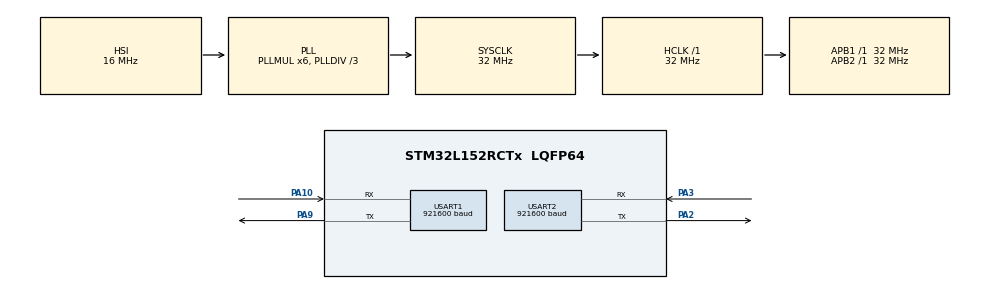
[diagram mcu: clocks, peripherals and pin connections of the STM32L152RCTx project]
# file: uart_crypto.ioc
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Dma.Request0=USART2_TX
Dma.Request1=USART1_TX
Dma.USART1_TX.1.Direction=DMA_MEMORY_TO_PERIPH
Dma.USART1_TX.1.Instance=DMA1_Channel4
Dma.USART1_TX.1.MemDataAlignment=DMA_MDATAALIGN_BYTE
Dma.USART1_TX.1.MemInc=DMA_MINC_ENABLE
Dma.USART1_TX.1.Mode=DMA_NORMAL
Dma.USART1_TX.1.PeriphDataAlignment=DMA_PDATAALIGN_BYTE
Dma.USART1_TX.1.PeriphInc=DMA_PINC_DISABLE
Dma.USART1_TX.1.Priority=DMA_PRIORITY_LOW
Dma.USART2_TX.0.Direction=DMA_MEMORY_TO_PERIPH
Dma.USART2_TX.0.Instance=DMA1_Channel7
Dma.USART2_TX.0.MemDataAlignment=DMA_MDATAALIGN_BYTE
Dma.USART2_TX.0.MemInc=DMA_MINC_ENABLE
Dma.USART2_TX.0.Mode=DMA_NORMAL
Dma.USART2_TX.0.PeriphDataAlignment=DMA_PDATAALIGN_BYTE
Dma.USART2_TX.0.PeriphInc=DMA_PINC_DISABLE
Dma.USART2_TX.0.Priority=DMA_PRIORITY_LOW
FREERTOS.Events01=encrypted_ready,Static,encrypted_readyControlBlock;decrypted_ready,Static,decrypted_readyControlBlock
FREERTOS.Mutexes01=myMutex01,Static,myMutex01ControlBlock
FREERTOS.Queues01=encrypted_data,120,uint8_t,0,Static,encrypted_dataBuffer,encrypted_dataControlBlock;decrypted_data,120,uint8_t,0,Static,decrypted_dataBuffer,decrypted_dataControlBlock
FREERTOS.Tasks01=defaultTask,9,128,StartDefaultTask,Default,NULL,Dynamic,NULL,NULL;rt_uart1,24,128,encrypter_task,Default,NULL,Dynamic,NULL,NULL;rt_uart2,24,128,decrypter_task,Default,NULL,Dynamic,NULL,NULL
FREERTOS.configLIBRARY_MAX_SYSCALL_INTERRUPT_PRIORITY=6
IWDG.Prescaler=IWDG_PRESCALER_256
Mcu.Family=STM32L1
Mcu.Name=STM32L152RCTx
Mcu.Package=LQFP64
Mcu.UserConstants=CPU_FREQ_HZ,32000000
NVIC.DMA1_Channel4_IRQn=true\:6\:0\:true\:true\:true\:3\:true\:false\:true
NVIC.DMA1_Channel7_IRQn=true\:6\:0\:true\:true\:true\:2\:true\:false\:true
NVIC.PriorityGroup=NVIC_PRIORITYGROUP_4
NVIC.TIM3_IRQn=true\:0\:0\:false\:false\:true\:false\:false\:true
NVIC.TimeBase=TIM3_IRQn
NVIC.TimeBaseIP=TIM3
NVIC.USART1_IRQn=true\:6\:0\:true\:false\:true\:true\:true\:true
NVIC.USART2_IRQn=true\:6\:0\:false\:true\:true\:1\:true\:true\:true
PA10.Mode=Asynchronous
PA10.Signal=USART1_RX
PA13.Mode=Serial_Wire
PA13.Signal=SYS_JTMS-SWDIO
PA14.Mode=Serial_Wire
PA14.Signal=SYS_JTCK-SWCLK
PA2.Mode=Asynchronous
PA2.Signal=USART2_TX
PA3.Mode=Asynchronous
PA3.Signal=USART2_RX
PA9.Mode=Asynchronous
PA9.Signal=USART1_TX
ProjectManager.HeapSize=0x200
ProjectManager.StackSize=0x400
ProjectManager.TargetToolchain=STM32CubeIDE
RCC.48MHZClocksFreq_Value=48000000
RCC.AHBFreq_Value=32000000
RCC.APB1Freq_Value=32000000
RCC.APB1TimFreq_Value=32000000
RCC.APB2Freq_Value=32000000
RCC.APB2TimFreq_Value=32000000
RCC.HCLKFreq_Value=32000000
RCC.HSE_VALUE=24000000
RCC.HSI_VALUE=16000000
RCC.LSE_VALUE=32768
RCC.MSI_VALUE=2097000
RCC.PLLDIV=RCC_PLL_DIV3
RCC.PLLMUL=RCC_PLL_MUL6
RCC.SYSCLKFreq_VALUE=32000000
RCC.SYSCLKSource=RCC_SYSCLKSOURCE_PLLCLK
RCC.VCOOutputFreq_Value=96000000
TIM2.Prescaler=CPU_FREQ_HZ/1000-1
TIM5.Prescaler=CPU_FREQ_HZ/1000000-1
USART1.BaudRate=921600
USART1.VirtualMode=VM_ASYNC
USART2.BaudRate=921600
USART2.OverSampling=UART_OVERSAMPLING_8
USART2.VirtualMode=VM_ASYNC
VP_FREERTOS_VS_CMSIS_V2.Mode=CMSIS_V2
VP_IWDG_VS_IWDG.Mode=IWDG_Activate
VP_SYS_VS_tim3.Mode=TIM3
VP_TIM2_VS_ClockSourceINT.Mode=Internal
VP_TIM5_VS_ClockSourceINT.Mode=Internal
board=custom

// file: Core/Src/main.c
/* USER CODE BEGIN Header */
/**
  ******************************************************************************
  * @file           : main.c
  * @brief          : Main program body
  ******************************************************************************
  * @attention
  *
  * <h2><center>&copy; Copyright (c) 2023 STMicroelectronics.
  * All rights reserved.</center></h2>
  *
  * This software component is licensed by ST under Ultimate Liberty license
  * SLA0044, the "License"; You may not use this file except in compliance with
  * the License. You may obtain a copy of the License at:
  *                             www.st.com/SLA0044
  *
  ******************************************************************************
  */
/* USER CODE END Header */
#include "main.h"
#include "cmsis_os.h"

/* USER CODE BEGIN Includes */
#include "uart.h"
#include "task.h"
/* USER CODE END Includes */

typedef StaticQueue_t osStaticMessageQDef_t;
typedef StaticSemaphore_t osStaticMutexDef_t;
typedef StaticEventGroup_t osStaticEventGroupDef_t;

IWDG_HandleTypeDef hiwdg;

TIM_HandleTypeDef htim2;
TIM_HandleTypeDef htim5;

UART_HandleTypeDef huart1;
UART_HandleTypeDef huart2;
DMA_HandleTypeDef hdma_usart1_tx;
DMA_HandleTypeDef hdma_usart2_tx;

/* Definitions for defaultTask */
osThreadId_t defaultTaskHandle;
const osThreadAttr_t defaultTask_attributes = {
  .name = "defaultTask",
  .priority = (osPriority_t) osPriorityLow1,
  .stack_size = 128 * 4
};
/* Definitions for rt_uart1 */
osThreadId_t rt_uart1Handle;
const osThreadAttr_t rt_uart1_attributes = {
  .name = "rt_uart1",
  .priority = (osPriority_t) osPriorityNormal,
  .stack_size = 128 * 4
};
/* Definitions for rt_uart2 */
osThreadId_t rt_uart2Handle;
const osThreadAttr_t rt_uart2_attributes = {
  .name = "rt_uart2",
  .priority = (osPriority_t) osPriorityNormal,
  .stack_size = 128 * 4
};
/* Definitions for encrypted_data */
osMessageQueueId_t encrypted_dataHandle;
uint8_t encrypted_dataBuffer[ 120 * sizeof( uint8_t ) ];
osStaticMessageQDef_t encrypted_dataControlBlock;
const osMessageQueueAttr_t encrypted_data_attributes = {
  .name = "encrypted_data",
  .cb_mem = &encrypted_dataControlBlock,
  .cb_size = sizeof(encrypted_dataControlBlock),
  .mq_mem = &encrypted_dataBuffer,
  .mq_size = sizeof(encrypted_dataBuffer)
};
/* Definitions for decrypted_data */
osMessageQueueId_t decrypted_dataHandle;
uint8_t decrypted_dataBuffer[ 120 * sizeof( uint8_t ) ];
osStaticMessageQDef_t decrypted_dataControlBlock;
const osMessageQueueAttr_t decrypted_data_attributes = {
  .name = "decrypted_data",
  .cb_mem = &decrypted_dataControlBlock,
  .cb_size = sizeof(decrypted_dataControlBlock),
  .mq_mem = &decrypted_dataBuffer,
  .mq_size = sizeof(decrypted_dataBuffer)
};
/* Definitions for myMutex01 */
osMutexId_t myMutex01Handle;
osStaticMutexDef_t myMutex01ControlBlock;
const osMutexAttr_t myMutex01_attributes = {
  .name = "myMutex01",
  .cb_mem = &myMutex01ControlBlock,
  .cb_size = sizeof(myMutex01ControlBlock),
};
/* Definitions for encrypted_ready */
osEventFlagsId_t encrypted_readyHandle;
osStaticEventGroupDef_t encrypted_readyControlBlock;
const osEventFlagsAttr_t encrypted_ready_attributes = {
  .name = "encrypted_ready",
  .cb_mem = &encrypted_readyControlBlock,
  .cb_size = sizeof(encrypted_readyControlBlock),
};
/* Definitions for decrypted_ready */
osEventFlagsId_t decrypted_readyHandle;
osStaticEventGroupDef_t decrypted_readyControlBlock;
const osEventFlagsAttr_t decrypted_ready_attributes = {
  .name = "decrypted_ready",
  .cb_mem = &decrypted_readyControlBlock,
  .cb_size = sizeof(decrypted_readyControlBlock),
};
/* USER CODE BEGIN PV */
//    EventGroupHandle_t xEventGroupHandle;
//    StaticEventGroup_t xCreatedEventGroup;

/* USER CODE END PV */

void SystemClock_Config(void);
static void MX_GPIO_Init(void);
static void MX_DMA_Init(void);
static void MX_USART1_UART_Init(void);
static void MX_USART2_UART_Init(void);
static void MX_IWDG_Init(void);
static void MX_TIM2_Init(void);
static void MX_TIM5_Init(void);
void StartDefaultTask(void *argument);
void encrypter_task(void *argument);
void decrypter_task(void *argument);

static void MX_NVIC_Init(void);

int main(void)
{

  /* MCU Configuration--------------------------------------------------------*/

  /* Reset of all peripherals, Initializes the Flash interface and the Systick. */
  HAL_Init();

  /* Configure the system clock */
  SystemClock_Config();

  /* Initialize all configured peripherals */
  MX_GPIO_Init();
  MX_DMA_Init();
  MX_USART1_UART_Init();
  MX_USART2_UART_Init();
  MX_IWDG_Init();
  MX_TIM2_Init();
  MX_TIM5_Init();

  /* Initialize interrupts */
  MX_NVIC_Init();

  /* Init scheduler */
  osKernelInitialize();
  /* Create the mutex(es) */
  /* creation of myMutex01 */
  myMutex01Handle = osMutexNew(&myMutex01_attributes);

  /* Create the queue(s) */
  /* creation of encrypted_data */
  encrypted_dataHandle = osMessageQueueNew (120, sizeof(uint8_t), &encrypted_data_attributes);

  /* creation of decrypted_data */
  decrypted_dataHandle = osMessageQueueNew (120, sizeof(uint8_t), &decrypted_data_attributes);

  /* Create the thread(s) */
  /* creation of defaultTask */
  defaultTaskHandle = osThreadNew(StartDefaultTask, NULL, &defaultTask_attributes);

  /* creation of rt_uart1 */
  rt_uart1Handle = osThreadNew(encrypter_task, NULL, &rt_uart1_attributes);

  /* creation of rt_uart2 */
  rt_uart2Handle = osThreadNew(decrypter_task, NULL, &rt_uart2_attributes);

  /* creation of encrypted_ready */
  encrypted_readyHandle = osEventFlagsNew(&encrypted_ready_attributes);
  osEventFlagsSet(encrypted_readyHandle, 2);

  /* creation of decrypted_ready */
  decrypted_readyHandle = osEventFlagsNew(&decrypted_ready_attributes);
  osEventFlagsSet(decrypted_readyHandle, 2);

  /* Start scheduler */
  osKernelStart();

  /* We should never get here as control is now taken by the scheduler */
  /* Infinite loop */
  while (1)
  {

  }
}

void SystemClock_Config(void)
{
  RCC_OscInitTypeDef RCC_OscInitStruct = {0};
  RCC_ClkInitTypeDef RCC_ClkInitStruct = {0};

  /** Configure the main internal regulator output voltage
  */
  __HAL_PWR_VOLTAGESCALING_CONFIG(PWR_REGULATOR_VOLTAGE_SCALE1);
  /** Initializes the RCC Oscillators according to the specified parameters
  * in the RCC_OscInitTypeDef structure.
  */
  RCC_OscInitStruct.OscillatorType = RCC_OSCILLATORTYPE_HSI|RCC_OSCILLATORTYPE_LSI;
  RCC_OscInitStruct.HSIState = RCC_HSI_ON;
  RCC_OscInitStruct.HSICalibrationValue = RCC_HSICALIBRATION_DEFAULT;
  RCC_OscInitStruct.LSIState = RCC_LSI_ON;
  RCC_OscInitStruct.PLL.PLLState = RCC_PLL_ON;
  RCC_OscInitStruct.PLL.PLLSource = RCC_PLLSOURCE_HSI;
  RCC_OscInitStruct.PLL.PLLMUL = RCC_PLL_MUL6;
  RCC_OscInitStruct.PLL.PLLDIV = RCC_PLL_DIV3;
  if (HAL_RCC_OscConfig(&RCC_OscInitStruct) != HAL_OK)
  {
    Error_Handler();
  }
  /** Initializes the CPU, AHB and APB buses clocks
  */
  RCC_ClkInitStruct.ClockType = RCC_CLOCKTYPE_HCLK|RCC_CLOCKTYPE_SYSCLK
                              |RCC_CLOCKTYPE_PCLK1|RCC_CLOCKTYPE_PCLK2;
  RCC_ClkInitStruct.SYSCLKSource = RCC_SYSCLKSOURCE_PLLCLK;
  RCC_ClkInitStruct.AHBCLKDivider = RCC_SYSCLK_DIV1;
  RCC_ClkInitStruct.APB1CLKDivider = RCC_HCLK_DIV1;
  RCC_ClkInitStruct.APB2CLKDivider = RCC_HCLK_DIV1;

  if (HAL_RCC_ClockConfig(&RCC_ClkInitStruct, FLASH_LATENCY_1) != HAL_OK)
  {
    Error_Handler();
  }
}

/**
  * @brief NVIC Configuration.
  * @retval None
  */
static void MX_NVIC_Init(void)
{
  /* USART2_IRQn interrupt configuration */
  HAL_NVIC_SetPriority(USART2_IRQn, 6, 0);
  HAL_NVIC_EnableIRQ(USART2_IRQn);
  /* DMA1_Channel7_IRQn interrupt configuration */
  HAL_NVIC_SetPriority(DMA1_Channel7_IRQn, 6, 0);
  HAL_NVIC_EnableIRQ(DMA1_Channel7_IRQn);
  /* DMA1_Channel4_IRQn interrupt configuration */
  HAL_NVIC_SetPriority(DMA1_Channel4_IRQn, 6, 0);
  HAL_NVIC_EnableIRQ(DMA1_Channel4_IRQn);
}

static void MX_IWDG_Init(void)
{

  /* USER CODE BEGIN IWDG_Init 0 */
#ifndef DEBUG
  /* USER CODE END IWDG_Init 0 */

  hiwdg.Instance = IWDG;
  hiwdg.Init.Prescaler = IWDG_PRESCALER_256;
  hiwdg.Init.Reload = 4095;
  if (HAL_IWDG_Init(&hiwdg) != HAL_OK)
  {
    Error_Handler();
  }
  /* USER CODE BEGIN IWDG_Init 2 */
#endif
  /* USER CODE END IWDG_Init 2 */

}

static void MX_TIM2_Init(void)
{

  TIM_ClockConfigTypeDef sClockSourceConfig = {0};
  TIM_MasterConfigTypeDef sMasterConfig = {0};

  htim2.Instance = TIM2;
  htim2.Init.Prescaler = CPU_FREQ_HZ/1000-1;
  htim2.Init.CounterMode = TIM_COUNTERMODE_UP;
  htim2.Init.Period = 65535;
  htim2.Init.ClockDivision = TIM_CLOCKDIVISION_DIV1;
  htim2.Init.AutoReloadPreload = TIM_AUTORELOAD_PRELOAD_DISABLE;
  if (HAL_TIM_Base_Init(&htim2) != HAL_OK)
  {
    Error_Handler();
  }
  sClockSourceConfig.ClockSource = TIM_CLOCKSOURCE_INTERNAL;
  if (HAL_TIM_ConfigClockSource(&htim2, &sClockSourceConfig) != HAL_OK)
  {
    Error_Handler();
  }
  sMasterConfig.MasterOutputTrigger = TIM_TRGO_RESET;
  sMasterConfig.MasterSlaveMode = TIM_MASTERSLAVEMODE_DISABLE;
  if (HAL_TIMEx_MasterConfigSynchronization(&htim2, &sMasterConfig) != HAL_OK)
  {
    Error_Handler();
  }

}

static void MX_TIM5_Init(void)
{

  TIM_ClockConfigTypeDef sClockSourceConfig = {0};
  TIM_MasterConfigTypeDef sMasterConfig = {0};

  htim5.Instance = TIM5;
  htim5.Init.Prescaler = CPU_FREQ_HZ/1000000-1;
  htim5.Init.CounterMode = TIM_COUNTERMODE_UP;
  htim5.Init.Period = 4294967295;
  htim5.Init.ClockDivision = TIM_CLOCKDIVISION_DIV1;
  htim5.Init.AutoReloadPreload = TIM_AUTORELOAD_PRELOAD_DISABLE;
  if (HAL_TIM_Base_Init(&htim5) != HAL_OK)
  {
    Error_Handler();
  }
  sClockSourceConfig.ClockSource = TIM_CLOCKSOURCE_INTERNAL;
  if (HAL_TIM_ConfigClockSource(&htim5, &sClockSourceConfig) != HAL_OK)
  {
    Error_Handler();
  }
  sMasterConfig.MasterOutputTrigger = TIM_TRGO_RESET;
  sMasterConfig.MasterSlaveMode = TIM_MASTERSLAVEMODE_DISABLE;
  if (HAL_TIMEx_MasterConfigSynchronization(&htim5, &sMasterConfig) != HAL_OK)
  {
    Error_Handler();
  }

}

static void MX_USART1_UART_Init(void)
{

  huart1.Instance = USART1;
  huart1.Init.BaudRate = 921600;
  huart1.Init.WordLength = UART_WORDLENGTH_8B;
  huart1.Init.StopBits = UART_STOPBITS_1;
  huart1.Init.Parity = UART_PARITY_NONE;
  huart1.Init.Mode = UART_MODE_TX_RX;
  huart1.Init.HwFlowCtl = UART_HWCONTROL_NONE;
  huart1.Init.OverSampling = UART_OVERSAMPLING_16;
  if (HAL_UART_Init(&huart1) != HAL_OK)
  {
    Error_Handler();
  }

}

static void MX_USART2_UART_Init(void)
{

  huart2.Instance = USART2;
  huart2.Init.BaudRate = 921600;
  huart2.Init.WordLength = UART_WORDLENGTH_8B;
  huart2.Init.StopBits = UART_STOPBITS_1;
  huart2.Init.Parity = UART_PARITY_NONE;
  huart2.Init.Mode = UART_MODE_TX_RX;
  huart2.Init.HwFlowCtl = UART_HWCONTROL_NONE;
  huart2.Init.OverSampling = UART_OVERSAMPLING_8;
  if (HAL_UART_Init(&huart2) != HAL_OK)
  {
    Error_Handler();
  }

}

static void MX_DMA_Init(void)
{

  /* DMA controller clock enable */
  __HAL_RCC_DMA1_CLK_ENABLE();

}

static void MX_GPIO_Init(void)
{

  /* GPIO Ports Clock Enable */
  __HAL_RCC_GPIOA_CLK_ENABLE();

}

/* USER CODE BEGIN 4 */
bool was_passed_time_us(uint32_t start_time_us, uint32_t must_be_passed_us){
    uint32_t cnt_us = GET_TIME_US;
    if (cnt_us < start_time_us){
        return ((MAX_COUNTER_US - start_time_us + cnt_us) >= must_be_passed_us);
    } else {
        return ((cnt_us - start_time_us) >= must_be_passed_us);
    }
}

bool was_passed_time_ms(uint32_t start_time_ms, uint32_t must_be_passed_ms){
    uint32_t cnt_ms = GET_TIME_MS;
    if (cnt_ms < start_time_ms){
        return ((MAX_COUNTER_MS - start_time_ms + cnt_ms) >= must_be_passed_ms);
    } else {
        return ((cnt_ms - start_time_ms) >= must_be_passed_ms);
    }
}
/* USER CODE END 4 */

void StartDefaultTask(void *argument)
{
  /* USER CODE BEGIN 5 */
  TickType_t xLastWakeTime;
  const TickType_t xFrequency = 10;

xLastWakeTime = xTaskGetTickCount ();
  for(;;)
  {
      #ifndef DEBUG
    HAL_IWDG_Refresh(&hiwdg);
      #endif

    // Wait for the next cycle.
    vTaskDelayUntil( &xLastWakeTime, xFrequency );
  }
  /* USER CODE END 5 */
}

void encrypter_task(void *argument)
{
  /* USER CODE BEGIN encrypter_task */

    for( ;; )
    {
        exchange(&encrypt_uart);
        // vTaskSuspend(NULL);

        osEventFlagsWait(encrypted_readyHandle, 1, 0, 2); // default clear exit, and not all bit wait, 10ms
        // osEventFlagsClear(encrypted_readyHandle, 1); // see above line
    }
  /* USER CODE END encrypter_task */
}

void decrypter_task(void *argument)
{
  /* USER CODE BEGIN decrypter_task */
  /* Infinite loop */
  for(;;)
  {
    exchange(&decrypt_uart);

    osEventFlagsWait(decrypted_readyHandle, 1, 0, 2|4); // default clear exit, and not all bit wait, 10ms
    // vTaskSuspend(NULL);
  }
  /* USER CODE END decrypter_task */
}

 /**
  * @brief  Period elapsed callback in non blocking mode
  * @note   This function is called  when TIM3 interrupt took place, inside
  * HAL_TIM_IRQHandler(). It makes a direct call to HAL_IncTick() to increment
  * a global variable "uwTick" used as application time base.
  * @param  htim : TIM handle
  * @retval None
  */
void HAL_TIM_PeriodElapsedCallback(TIM_HandleTypeDef *htim)
{
  if (htim->Instance == TIM3) {
    HAL_IncTick();
  }
}

void Error_Handler(void)
{
  __disable_irq();
  while (1)
  {
  }
}

/************************ (C) COPYRIGHT STMicroelectronics *****END OF FILE****/
